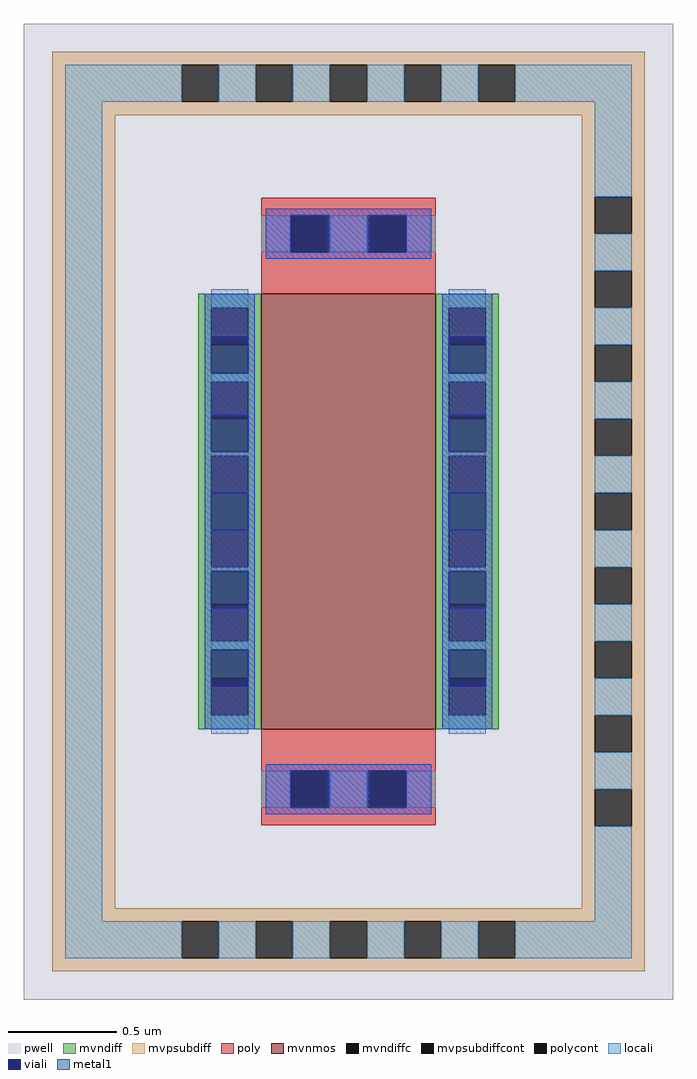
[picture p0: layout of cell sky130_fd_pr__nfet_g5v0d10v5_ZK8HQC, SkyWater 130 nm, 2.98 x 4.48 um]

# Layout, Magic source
magic
tech sky130A
magscale 1 2
<< pwell >>
rect -298 -448 298 448
<< mvnmos >>
rect -80 -200 80 200
<< mvndiff >>
rect -138 187 -80 200
rect -138 153 -126 187
rect -92 153 -80 187
rect -138 119 -80 153
rect -138 85 -126 119
rect -92 85 -80 119
rect -138 51 -80 85
rect -138 17 -126 51
rect -92 17 -80 51
rect -138 -17 -80 17
rect -138 -51 -126 -17
rect -92 -51 -80 -17
rect -138 -85 -80 -51
rect -138 -119 -126 -85
rect -92 -119 -80 -85
rect -138 -153 -80 -119
rect -138 -187 -126 -153
rect -92 -187 -80 -153
rect -138 -200 -80 -187
rect 80 187 138 200
rect 80 153 92 187
rect 126 153 138 187
rect 80 119 138 153
rect 80 85 92 119
rect 126 85 138 119
rect 80 51 138 85
rect 80 17 92 51
rect 126 17 138 51
rect 80 -17 138 17
rect 80 -51 92 -17
rect 126 -51 138 -17
rect 80 -85 138 -51
rect 80 -119 92 -85
rect 126 -119 138 -85
rect 80 -153 138 -119
rect 80 -187 92 -153
rect 126 -187 138 -153
rect 80 -200 138 -187
<< mvndiffc >>
rect -126 153 -92 187
rect -126 85 -92 119
rect -126 17 -92 51
rect -126 -51 -92 -17
rect -126 -119 -92 -85
rect -126 -187 -92 -153
rect 92 153 126 187
rect 92 85 126 119
rect 92 17 126 51
rect 92 -51 126 -17
rect 92 -119 126 -85
rect 92 -187 126 -153
<< mvpsubdiff >>
rect -272 410 272 422
rect -272 376 -153 410
rect -119 376 -85 410
rect -51 376 -17 410
rect 17 376 51 410
rect 85 376 119 410
rect 153 376 272 410
rect -272 364 272 376
rect -272 -364 -214 364
rect 214 289 272 364
rect 214 255 226 289
rect 260 255 272 289
rect 214 221 272 255
rect 214 187 226 221
rect 260 187 272 221
rect 214 153 272 187
rect 214 119 226 153
rect 260 119 272 153
rect 214 85 272 119
rect 214 51 226 85
rect 260 51 272 85
rect 214 17 272 51
rect 214 -17 226 17
rect 260 -17 272 17
rect 214 -51 272 -17
rect 214 -85 226 -51
rect 260 -85 272 -51
rect 214 -119 272 -85
rect 214 -153 226 -119
rect 260 -153 272 -119
rect 214 -187 272 -153
rect 214 -221 226 -187
rect 260 -221 272 -187
rect 214 -255 272 -221
rect 214 -289 226 -255
rect 260 -289 272 -255
rect 214 -364 272 -289
rect -272 -376 272 -364
rect -272 -410 -153 -376
rect -119 -410 -85 -376
rect -51 -410 -17 -376
rect 17 -410 51 -376
rect 85 -410 119 -376
rect 153 -410 272 -376
rect -272 -422 272 -410
<< mvpsubdiffcont >>
rect -153 376 -119 410
rect -85 376 -51 410
rect -17 376 17 410
rect 51 376 85 410
rect 119 376 153 410
rect 226 255 260 289
rect 226 187 260 221
rect 226 119 260 153
rect 226 51 260 85
rect 226 -17 260 17
rect 226 -85 260 -51
rect 226 -153 260 -119
rect 226 -221 260 -187
rect 226 -289 260 -255
rect -153 -410 -119 -376
rect -85 -410 -51 -376
rect -17 -410 17 -376
rect 51 -410 85 -376
rect 119 -410 153 -376
<< poly >>
rect -80 272 80 288
rect -80 238 -51 272
rect -17 238 17 272
rect 51 238 80 272
rect -80 200 80 238
rect -80 -238 80 -200
rect -80 -272 -51 -238
rect -17 -272 17 -238
rect 51 -272 80 -238
rect -80 -288 80 -272
<< polycont >>
rect -51 238 -17 272
rect 17 238 51 272
rect -51 -272 -17 -238
rect 17 -272 51 -238
<< locali >>
rect -260 376 -153 410
rect -119 376 -85 410
rect -51 376 -17 410
rect 17 376 51 410
rect 85 376 119 410
rect 153 376 260 410
rect -260 -376 -226 376
rect 226 289 260 376
rect -80 238 -53 272
rect -17 238 17 272
rect 53 238 80 272
rect 226 221 260 255
rect -126 187 -92 204
rect -126 119 -92 127
rect -126 51 -92 55
rect -126 -55 -92 -51
rect -126 -127 -92 -119
rect -126 -204 -92 -187
rect 92 187 126 204
rect 92 119 126 127
rect 92 51 126 55
rect 92 -55 126 -51
rect 92 -127 126 -119
rect 92 -204 126 -187
rect 226 153 260 187
rect 226 85 260 119
rect 226 17 260 51
rect 226 -51 260 -17
rect 226 -119 260 -85
rect 226 -187 260 -153
rect -80 -272 -53 -238
rect -17 -272 17 -238
rect 53 -272 80 -238
rect 226 -255 260 -221
rect 226 -376 260 -289
rect -260 -410 -153 -376
rect -119 -410 -85 -376
rect -51 -410 -17 -376
rect 17 -410 51 -376
rect 85 -410 119 -376
rect 153 -410 260 -376
<< viali >>
rect -53 238 -51 272
rect -51 238 -19 272
rect 19 238 51 272
rect 51 238 53 272
rect -126 153 -92 161
rect -126 127 -92 153
rect -126 85 -92 89
rect -126 55 -92 85
rect -126 -17 -92 17
rect -126 -85 -92 -55
rect -126 -89 -92 -85
rect -126 -153 -92 -127
rect -126 -161 -92 -153
rect 92 153 126 161
rect 92 127 126 153
rect 92 85 126 89
rect 92 55 126 85
rect 92 -17 126 17
rect 92 -85 126 -55
rect 92 -89 126 -85
rect 92 -153 126 -127
rect 92 -161 126 -153
rect -53 -272 -51 -238
rect -51 -272 -19 -238
rect 19 -272 51 -238
rect 51 -272 53 -238
<< metal1 >>
rect -76 272 76 278
rect -76 238 -53 272
rect -19 238 19 272
rect 53 238 76 272
rect -76 232 76 238
rect -132 161 -86 200
rect -132 127 -126 161
rect -92 127 -86 161
rect -132 89 -86 127
rect -132 55 -126 89
rect -92 55 -86 89
rect -132 17 -86 55
rect -132 -17 -126 17
rect -92 -17 -86 17
rect -132 -55 -86 -17
rect -132 -89 -126 -55
rect -92 -89 -86 -55
rect -132 -127 -86 -89
rect -132 -161 -126 -127
rect -92 -161 -86 -127
rect -132 -200 -86 -161
rect 86 161 132 200
rect 86 127 92 161
rect 126 127 132 161
rect 86 89 132 127
rect 86 55 92 89
rect 126 55 132 89
rect 86 17 132 55
rect 86 -17 92 17
rect 126 -17 132 17
rect 86 -55 132 -17
rect 86 -89 92 -55
rect 126 -89 132 -55
rect 86 -127 132 -89
rect 86 -161 92 -127
rect 126 -161 132 -127
rect 86 -200 132 -161
rect -76 -238 76 -232
rect -76 -272 -53 -238
rect -19 -272 19 -238
rect 53 -272 76 -238
rect -76 -278 76 -272
<< properties >>
string FIXED_BBOX -242 -392 242 392
<< end >>
